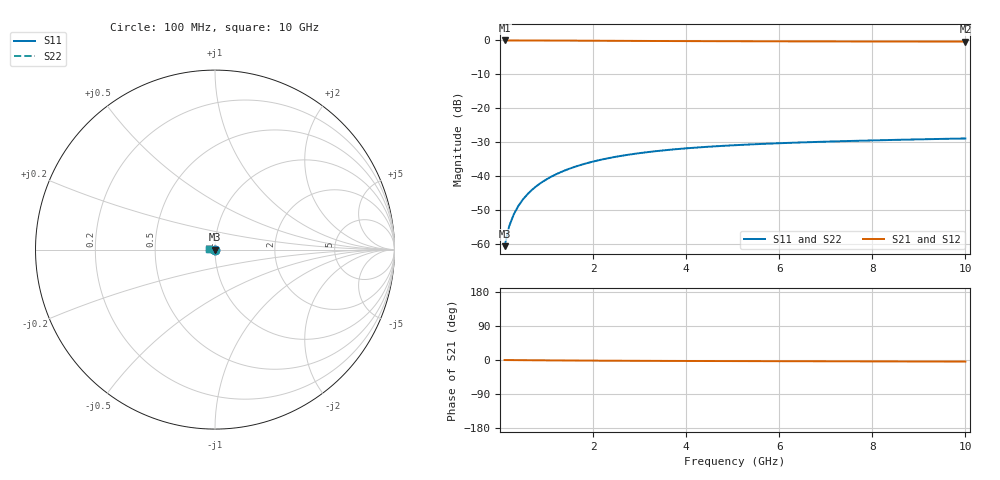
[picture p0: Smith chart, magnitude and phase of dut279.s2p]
! Touchstone file exported from HFSS 2024.1.0
!  File:  C:/UserFiles/LocalFiles/RDL_TSV_Batchsim/temp_TSV1_279_1779393009.aedt
!  Generated:  03:56:43 AM May 22, 2026
!  Design:  TSV1
!  Project:  temp_TSV1_279_1779393009
!  Setup:  Setup1
!  Solution:  Sweep
! Variables:
!  dtsv = 9.35um
!  hbump = 3um
!  htsv = 63.6um
!  lrdl = 252.1521522um
!  p = 40
!  p1 = 47um
!  t = 500um
!  trdl = 3um
!  wrdl = 24.89489489um
# GHz S MA R 50.000000
! Terminal data exported
! Port[1] = TSV22_T1
! Port[2] = TSV22_T2
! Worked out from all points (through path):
!   100 points, 100 MHz to 10 GHz, reference 50 ohm
!   highest |S21| = 0.00 dB at 100 MHz (marker M1); lowest = -0.3 dB at 10 GHz (marker M2)
!   lowest |S11| = -60.6 dB at 100 MHz (marker M3), VSWR 1.00, Z = 50 - j0.0923 ohm
!   |S11| at or under -10 dB: start of sweep to end of sweep
!   |S22| runs from -60.6 to -28.9 dB; largest |S21 - S12| = 7.2e-15
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0.1  0.0009298 -82.7  0.9998 -0.1  0.9998 -0.1  0.0009298 -82.7
! Gamma 0 0 0 0
! Port Impedance 50 0 50 0
0.2  0.001848 -88.8  0.9997 -0.2  0.9997 -0.2  0.001848 -88.8
0.3  0.00277 -92.0  0.9996 -0.3  0.9996 -0.3  0.00277 -92.0
0.4  0.003688 -94.6  0.9993 -0.4  0.9993 -0.4  0.003688 -94.6
0.5  0.004599 -96.8  0.9991 -0.5  0.9991 -0.5  0.004599 -96.8
0.6  0.005501 -98.9  0.9988 -0.6  0.9988 -0.6  0.005501 -98.9
0.7  0.006391 -100.9  0.9984 -0.7  0.9984 -0.7  0.006391 -100.9
0.8  0.007268 -102.8  0.998 -0.8  0.998 -0.8  0.007268 -102.8
0.9  0.00813 -104.6  0.9975 -0.8  0.9975 -0.8  0.00813 -104.6
1.1  0.009807 -108.2  0.9965 -1.0  0.9965 -1.0  0.009807 -108.2
1.4  0.01219 -113.2  0.9948 -1.2  0.9948 -1.2  0.01219 -113.2
1.6  0.01367 -116.4  0.9935 -1.4  0.9935 -1.4  0.01367 -116.4
1.8  0.01508 -119.5  0.9921 -1.5  0.9921 -1.5  0.01508 -119.5
2.1  0.01704 -123.9  0.99 -1.7  0.99 -1.7  0.01704 -123.9
2.5  0.01936 -129.3  0.9873 -1.9  0.9873 -1.9  0.01936 -129.3
2.9  0.02139 -134.3  0.9846 -2.1  0.9846 -2.1  0.02139 -134.3
3.4  0.02355 -139.9  0.9815 -2.3  0.9815 -2.3  0.02355 -139.9
4.2  0.02633 -147.8  0.9771 -2.6  0.9771 -2.6  0.02633 -147.8
5.1  0.02872 -155.3  0.9732 -2.9  0.9732 -2.9  0.02872 -155.3
6.7  0.03178 -166.1  0.9681 -3.3  0.9681 -3.3  0.03178 -166.1
8.4  0.03414 -175.3  0.9646 -3.8  0.9646 -3.8  0.03414 -175.3
10  0.03596 177.4  0.9623 -4.2  0.9623 -4.2  0.03596 177.4
